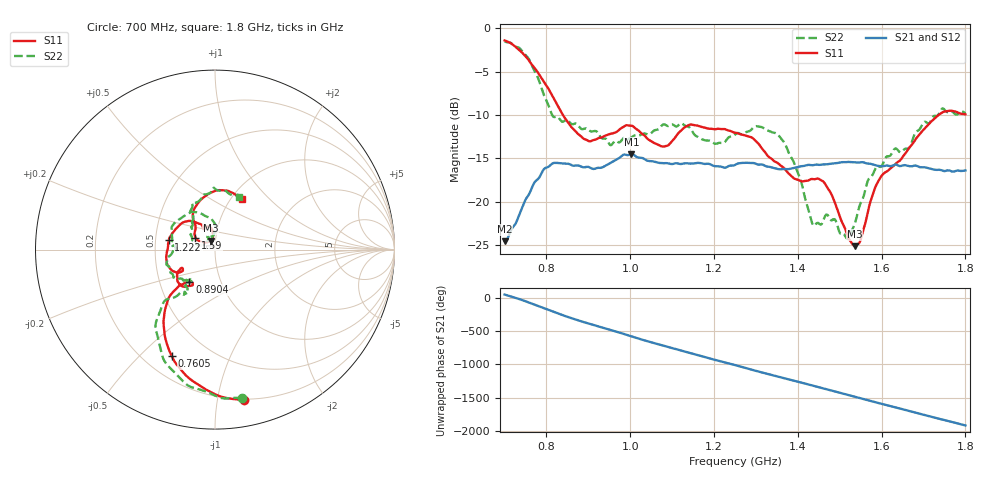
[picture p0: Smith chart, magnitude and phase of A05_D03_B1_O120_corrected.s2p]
! Created with skrf 1.9.0 (http://scikit-rf.org).
# Hz S RI R 50.0
!freq ReS11 ImS11 ReS21 ImS21 ReS12 ImS12 ReS22 ImS22
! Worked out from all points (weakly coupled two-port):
!   1601 points, 700 MHz to 1.8 GHz, reference 50 ohm
!   highest |S21| = -14.52 dB at 1.002 GHz (marker M1); lowest = -24.6 dB at 700.7 MHz (marker M2)
!   lowest |S11| = -25.1 dB at 1.535 GHz (marker M3), VSWR 1.12, Z = 47.3 + j4.7 ohm
!   |S11| at or under -10 dB: 839.2 MHz to 1.736 GHz (896.5 MHz wide, 69.6 % of centre)
!   |S22| runs from -24.3 to -1.5 dB; largest |S21 - S12| = 0.0036
!   S11 on the Smith chart (normalised r, x): 700 MHz: 0.20, -1.19; 760.5 MHz: 0.31, -0.63; 890.4 MHz: 0.71, -0.27; 1.222 GHz: 0.59, +0.07; 1.59 GHz: 0.80, +0.11; 1.8 GHz: 1.12, +0.70
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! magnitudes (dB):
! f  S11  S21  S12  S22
! 700 MHz  -1.4  -24.6  -24.3  -1.5
! 700.7 MHz  -1.4  -24.6  -24.3  -1.5
! 760.5 MHz  -3.9  -18.9  -18.8  -3.8
! 814.8 MHz  -7.8  -15.6  -15.6  -10.1
! 883.6 MHz  -12.5  -16.0  -15.9  -11.6
! 890.4 MHz  -12.8  -16.0  -16.0  -11.6
! 953 MHz  -12.2  -15.5  -15.5  -13.5
! 1.002 GHz  -11.2  -14.5  -14.6  -12.6
! 1.067 GHz  -13.4  -15.5  -15.4  -11.6
! 1.142 GHz  -11.1  -15.6  -15.6  -11.5
! 1.222 GHz  -11.6  -16.0  -16.1  -13.2
! 1.25 GHz  -12.0  -15.8  -15.7  -12.3
! 1.355 GHz  -15.7  -16.3  -16.2  -12.4
! 1.402 GHz  -17.5  -16.0  -16.0  -16.9
! 1.434 GHz  -17.4  -15.8  -15.8  -22.4
! 1.467 GHz  -18.1  -15.7  -15.7  -21.5
! 1.517 GHz  -23.8  -15.4  -15.4  -24.3
! 1.535 GHz  -25.1  -15.5  -15.5  -22.6
! 1.59 GHz  -17.9  -15.8  -15.8  -15.9
! 1.617 GHz  -16.3  -15.9  -15.8  -14.8
! 1.738 GHz  -9.9  -16.3  -16.4  -9.7
! 1.8 GHz  -9.9  -16.4  -16.4  -9.8
